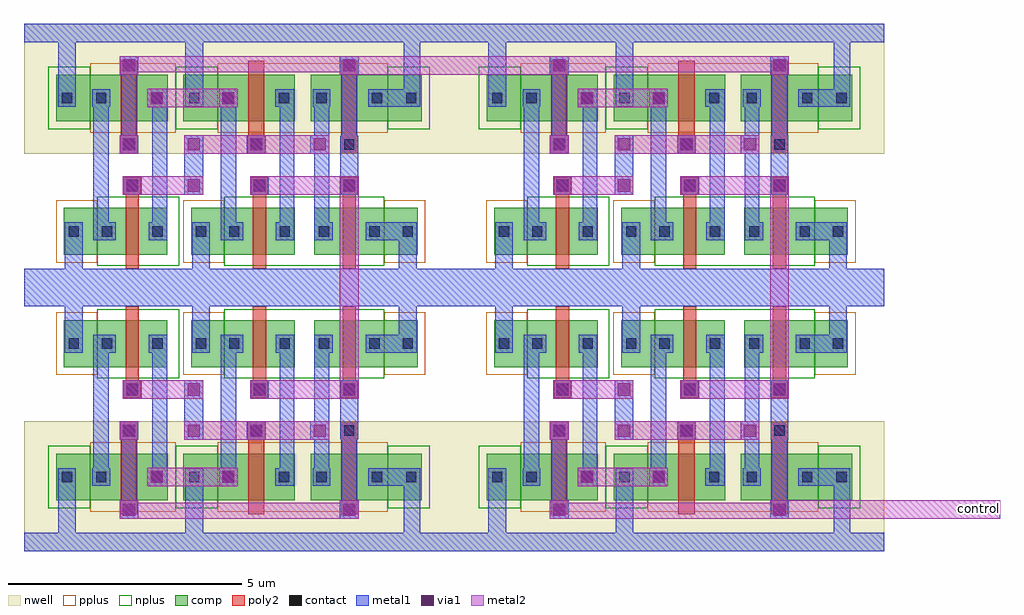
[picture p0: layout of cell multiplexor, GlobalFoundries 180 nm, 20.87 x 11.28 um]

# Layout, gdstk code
from math import pi, radians
import gdstk
lib = gdstk.Library(unit=1e-6, precision=5e-09)
def R(c, l, rs):  # rectangles x0, y0, x1, y1
    for r in rs: c.add(gdstk.rectangle(r[:2], r[2:], *l))
nwell = (21, 0)
comp = (22, 0)
poly2 = (30, 0)
pplus = (31, 0)
nplus = (32, 0)
contact = (33, 0)
metal1 = (34, 0)
via1 = (35, 0)
metal2 = (36, 0)

pfet_52 = lib.new_cell('pfet$52')
R(pfet_52, nwell, [(-1.15,-0.69,2.61,1.69)])
R(pfet_52, comp, [(-0.46,0,0,1), (0,0,0.73,1), (0.73,0,1.19,1), (1.19,0,1.92,1)])
R(pfet_52, poly2, [(0.175,-0.68,0.555,-0.3), (0.19,-0.3,0.54,1.3)])
R(pfet_52, pplus, [(-0.63,-0.24,1.19,1.24)])
R(pfet_52, nplus, [(1.19,-0.17,2.09,1.17)])
R(pfet_52, contact, [(0.255,-0.6,0.475,-0.38), (-0.34,0.39,-0.12,0.61), (0.85,0.39,1.07,0.61), (1.58,0.39,1.8,0.61)])
R(pfet_52, metal1, [(0.175,-0.68,0.555,-0.3), (-0.42,0.31,-0.04,0.69), (0.77,0.31,1.15,0.69), (1.5,0.31,1.88,0.69)])

nfet_87 = lib.new_cell('nfet$87')
R(nfet_87, comp, [(-0.42,0,0,1), (0,0,0.66,1), (0.66,0,1.08,1), (1.08,0,1.79,1)])
R(nfet_87, poly2, [(0.19,-0.3,0.47,1.3), (0.15,1.3,0.51,1.66)])
R(nfet_87, pplus, [(1.08,-0.17,1.96,1.17)])
R(nfet_87, nplus, [(-0.59,-0.24,1.08,1.24)])
R(nfet_87, contact, [(-0.32,0.39,-0.1,0.61), (0.76,0.39,0.98,0.61), (1.47,0.39,1.69,0.61), (0.22,1.37,0.44,1.59)])
R(nfet_87, metal1, [(-0.4,0.31,-0.02,0.69), (0.68,0.31,1.06,0.69), (1.39,0.31,1.77,0.69), (0.14,1.29,0.52,1.67)])

via_dev_150 = lib.new_cell('via_dev$150')
R(via_dev_150, metal1, [(0,0,0.4,0.4)])
R(via_dev_150, via1, [(0.07,0.07,0.33,0.33)])
R(via_dev_150, metal2, [(0,0,0.4,0.4)])

via_dev_151 = lib.new_cell('via_dev$151')

conmutator = lib.new_cell('conmutator')
R(conmutator, nwell, [(-6.765,0.9,2.435,1.3)])
R(conmutator, nplus, [(-3.53,-3.88,-3.45,-2.4), (-0.81,-3.88,-0.73,-2.4)])
R(conmutator, metal1, [(-6.765,-4.34,2.435,-3.94), (-5.89,-4.14,-5.51,-2.95), (-3.17,-4.14,-2.79,-2.95), (1.25,-3.94,1.63,-2.95), (-5.28,-3.33,-4.95,-0.415), (-4.02,-3.33,-3.705,-0.1), (-2.56,-3.33,-2.23,-0.415), (-1.3,-3.33,-0.985,-0.1), (-0.555,-3.33,-0.24,-0.405), (0.54,-3.33,1.63,-2.95), (-3.335,-2.155,-2.935,-1.23), (0,-1.97,0.38,-1.47), (-4.685,-1.27,-4.365,0.39), (0.025,-1.09,0.355,0.355), (0.595,-0.48,1.705,-0.1), (1.355,-0.48,1.705,0.9), (-6.035,-0.1,-5.655,0.9), (-3.315,-0.1,-2.935,0.9), (-6.765,0.9,2.435,1.3)])
R(conmutator, metal2, [(-4.25,-2.36,-3.04,-1.96), (-1.61,-2.36,0.03,-1.96), (-3.215,-1.48,-2,-1.08), (-1.655,-1.48,-0.385,-1.08), (-3.73,-0.49,-2.59,-0.09), (-4.625,0.26,0.295,0.61)])
conmutator.add(gdstk.Reference(pfet_52, (-0.175,-0.79)))
conmutator.add(gdstk.Reference(nfet_87, (-0.14,-3.64)))
conmutator.add(gdstk.Reference(via_dev_150, (-0.01,-2.36)))
conmutator.add(gdstk.Reference(via_dev_150, (-0.64,-1.48)))
conmutator.add(gdstk.Reference(via_dev_150, (-2,-1.48)))
conmutator.add(gdstk.Reference(via_dev_150, (-1.93,-2.36)))
conmutator.add(gdstk.Reference(via_dev_150, (-3.335,-1.48)))
conmutator.add(gdstk.Reference(via_dev_150, (-2.595,-0.49)))
conmutator.add(gdstk.Reference(nfet_87, (-1.4,-3.64), rotation=pi, x_reflection=True))
conmutator.add(gdstk.Reference(via_dev_151, (-3.655,-1.74)))
conmutator.add(gdstk.Reference(via_dev_151, (-0.94,-1.74)))
conmutator.add(gdstk.Reference(pfet_52, (-1.435,-0.79), rotation=pi, x_reflection=True))
conmutator.add(gdstk.Reference(via_dev_150, (-4.72,-1.48)))
conmutator.add(gdstk.Reference(via_dev_150, (-4.65,-2.36)))
conmutator.add(gdstk.Reference(via_dev_150, (-4.125,-0.49)))
conmutator.add(gdstk.Reference(via_dev_150, (-3.335,-2.36)))
conmutator.add(gdstk.Reference(nfet_87, (-4.12,-3.64), rotation=pi, x_reflection=True))
conmutator.add(gdstk.Reference(via_dev_151, (-6.375,-1.74)))
conmutator.add(gdstk.Reference(via_dev_151, (-3.66,-1.74)))
conmutator.add(gdstk.Reference(pfet_52, (-4.155,-0.79), rotation=pi, x_reflection=True))
conmutator.add(gdstk.Reference(via_dev_150, (-0.01,0.21)))
conmutator.add(gdstk.Reference(via_dev_150, (-4.72,0.21)))
conmutator.add(gdstk.Label('out', (-3.88,-1.735), layer=34, texttype=10))
conmutator.add(gdstk.Label('in1', (-5.16,-1.89), layer=34, texttype=10))
conmutator.add(gdstk.Label('in2', (-1.145,-1.715), layer=34, texttype=10))
conmutator.add(gdstk.Label('cntrl', (0.155,-1.71), layer=34, texttype=10))
conmutator.add(gdstk.Label('vdd', (-3.665,1.08), layer=34, texttype=10))
conmutator.add(gdstk.Label('vss', (-3.575,-4.165), layer=34, texttype=10))

multiplexor = lib.new_cell('multiplexor')
R(multiplexor, metal2, [(9.145,-8.96,13.945,-8.56), (-0.17,-6.255,0.23,-1.885), (9.03,-6.16,9.43,-1.88), (0.075,0.54,4.585,0.94)])
multiplexor.add(gdstk.Reference(conmutator, (-0.16,0.33)))
multiplexor.add(gdstk.Reference(conmutator, (9.04,0.33)))
multiplexor.add(gdstk.Reference(conmutator, (-0.16,-8.35), x_reflection=True))
multiplexor.add(gdstk.Reference(conmutator, (9.04,-8.35), x_reflection=True))
multiplexor.add(gdstk.Label('control', (13.49,-8.73), layer=36, texttype=0))

lib.write_gds('multiplexor.gds')
